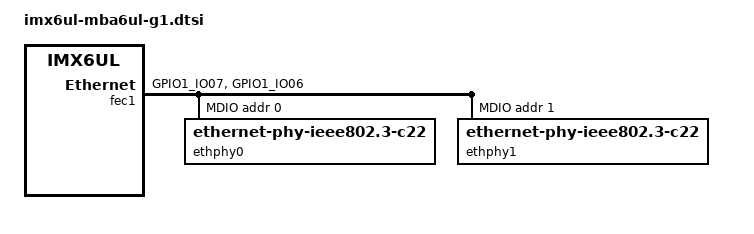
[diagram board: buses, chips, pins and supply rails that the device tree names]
// SPDX-License-Identifier: (GPL-2.0-or-later OR MIT)
/*
 * Copyright 2018 TQ-Systems GmbH
 * Author: Markus Niebel <Markus.Niebel@tq-group.com>
 */

&fec1 {
	pinctrl-names = "default";
	pinctrl-0 = <&pinctrl_enet1>, <&pinctrl_enet1_mdc>;
	status = "okay";

	mdio {
		#address-cells = <1>;
		#size-cells = <0>;

		ethphy0: ethernet-phy@0 {
			compatible = "ethernet-phy-ieee802.3-c22";
			max-speed = <100>;
			reg = <0>;
		};

		ethphy1: ethernet-phy@1 {
			compatible = "ethernet-phy-ieee802.3-c22";
			max-speed = <100>;
			reg = <1>;
		};
	};
};

&fec2 {
	status = "disabled";

	/delete-node/ mdio;
};

&iomuxc {
	pinctrl_enet1_mdc: enet1mdcgrp {
		fsl,pins = <
			/* mdio */
			MX6UL_PAD_GPIO1_IO07__ENET1_MDC		0x1b0b0
			MX6UL_PAD_GPIO1_IO06__ENET1_MDIO	0x1b0b0
		>;
	};
};
